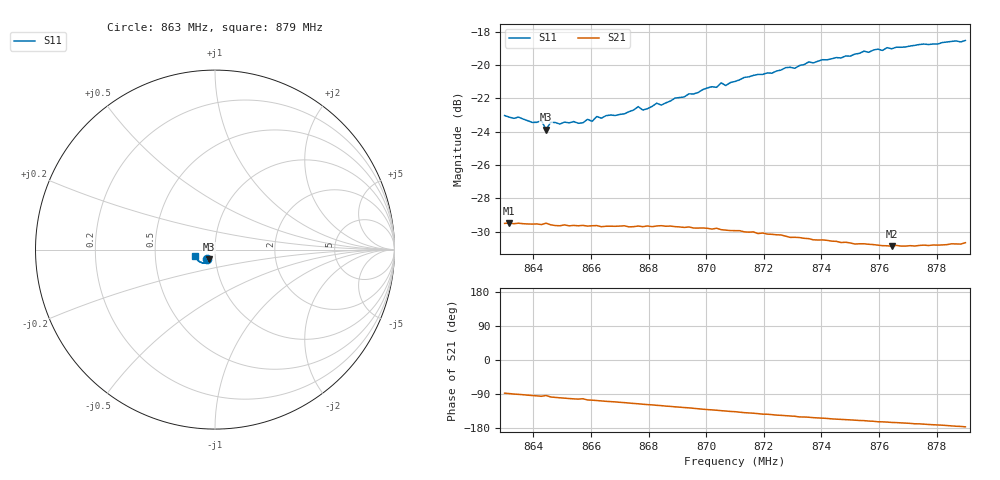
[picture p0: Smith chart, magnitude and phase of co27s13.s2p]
# HZ S RI R 50
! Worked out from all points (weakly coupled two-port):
!   101 points, 863 MHz to 879 MHz, reference 50 ohm
!   highest |S21| = -29.49 dB at 863.16 MHz (marker M1); lowest = -30.9 dB at 876.44 MHz (marker M2)
!   lowest |S11| = -23.9 dB at 864.44 MHz (marker M3), VSWR 1.14, Z = 46.5 - j5.1 ohm
!   |S11| at or under -10 dB: start of sweep to end of sweep
!   S12 and S22 are empty: the file has one direction only
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8.63e8  -0.0442 -0.0548  0.00145 -0.0334  0 0  0 0
8.6316e8  -0.0433 -0.0546  0.000827 -0.0335  0 0  0 0
8.6396e8  -0.0392 -0.0546  -0.00219 -0.0332  0 0  0 0
8.6428e8  -0.0377 -0.0566  -0.00333 -0.033  0 0  0 0
8.6444e8  -0.0332 -0.0546  -0.00212 -0.0334  0 0  0 0
8.646e8  -0.0374 -0.0559  -0.00435 -0.0328  0 0  0 0
8.6572e8  -0.0328 -0.0585  -0.007 -0.0322  0 0  0 0
8.6588e8  -0.0354 -0.0588  -0.00876 -0.0316  0 0  0 0
8.6604e8  -0.0337 -0.0587  -0.0091 -0.0316  0 0  0 0
8.662e8  -0.0358 -0.0601  -0.00963 -0.0315  0 0  0 0
8.6716e8  -0.0346 -0.0623  -0.0126 -0.0304  0 0  0 0
8.6764e8  -0.0367 -0.0653  -0.0142 -0.0296  0 0  0 0
8.678e8  -0.0357 -0.0639  -0.0147 -0.0292  0 0  0 0
8.6828e8  -0.0364 -0.0675  -0.0162 -0.0286  0 0  0 0
8.6844e8  -0.0367 -0.0663  -0.0167 -0.0284  0 0  0 0
8.7036e8  -0.0457 -0.0724  -0.0219 -0.0238  0 0  0 0
8.7052e8  -0.047 -0.0747  -0.0221 -0.0232  0 0  0 0
8.7068e8  -0.0464 -0.0732  -0.0224 -0.0227  0 0  0 0
8.71e8  -0.0497 -0.074  -0.023 -0.022  0 0  0 0
8.7372e8  -0.0686 -0.0746  -0.0264 -0.0139  0 0  0 0
8.7644e8  -0.0935 -0.0612  -0.0276 -0.00749  0 0  0 0
8.79e8  -0.1121 -0.0379  -0.0292 -0.00186  0 0  0 0
